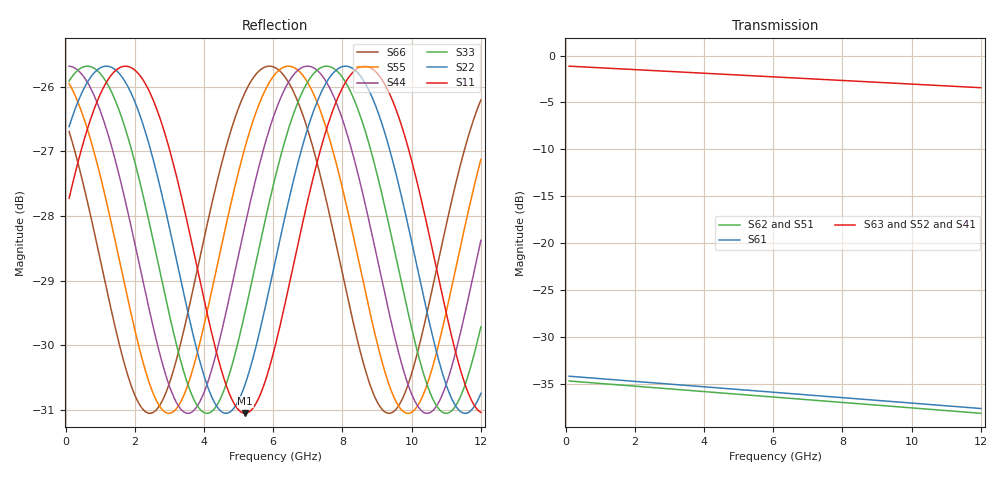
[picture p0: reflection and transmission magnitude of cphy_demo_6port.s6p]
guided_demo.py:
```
from __future__ import annotations

from pathlib import Path
from typing import TYPE_CHECKING

from PySide6 import QtCore, QtWidgets

from core.touchstone_loader import TouchstoneError, load_touchstone

if TYPE_CHECKING:
    from gui.main_window import MainWindow


class GuidedDemo(QtWidgets.QDockWidget):
    EXAMPLES = (
        ("cphy_demo_6port.s6p", "Sxx21_1R"),
        ("diff_demo_4port.s4p", "Sdd21"),
        ("se_demo_2port.s2p", "S21"),
    )

    def __init__(self, window: MainWindow) -> None:
        super().__init__("Guided Tour", window)
        self.setFeatures(QtWidgets.QDockWidget.NoDockWidgetFeatures)
        self.window = window
        self.step_index = 0
        self.dataset_ids: dict[str, str] = {}
        self.steps = (
            ("Import and inspect datasets",
             "Load the included synthetic S2P, S4P and S6P files. In Datasets, double-click a row "
             "to inspect points, port mapping and reference impedance.",
             "Load example files", self.load_examples),
            ("Add and compare traces",
             "Add one example trace per file. In Add Trace, choose SE, DIFF, or C-PHY as supported "
             "by the dataset. Use multiple for Ctrl/Shift selection and Plot / Traces for visibility, color and style.",
             "Add example traces", self.add_example_traces),
            ("Set a frequency range",
             "Apply a 1–10 GHz range. Try the mouse wheel to zoom, Shift + drag to pan, "
             "FIT to return to the applied view, and Autoscale to see the full sweep.",
             "Apply 1–10 GHz", self.apply_example_range),
            ("Read values with a marker",
             "Place a marker at 5 GHz and open Marker Info. Drag its line or enter a frequency "
             "to read the value of each visible trace. Click R in the Legend to edit report labels.",
             "Show 5 GHz marker", self.show_example_marker),
            ("Export and save",
             "Export Plot PNG or use Copy on the plot to copy it. Export Trace CSV saves trace values. "
             "Save Workspace lets you reopen the datasets, curves and markers later.",
             "Export demo PNG…", self.export_example),
        )

        panel = QtWidgets.QWidget(self)
        layout = QtWidgets.QVBoxLayout(panel)
        self.heading = QtWidgets.QLabel()
        self.description = QtWidgets.QLabel()
        self.description.setWordWrap(True)
        layout.addWidget(self.heading)
        layout.addWidget(self.description)
        buttons = QtWidgets.QHBoxLayout()
        self.try_button = QtWidgets.QPushButton()
        self.try_button.setObjectName("accentButton")
        self.back_button = QtWidgets.QPushButton("Back")
        self.next_button = QtWidgets.QPushButton()
        buttons.addWidget(self.try_button)
        buttons.addStretch()
        buttons.addWidget(self.back_button)
        buttons.addWidget(self.next_button)
        layout.addLayout(buttons)
        self.setWidget(panel)
        self.try_button.clicked.connect(self.try_step)
        self.back_button.clicked.connect(self.previous_step)
        self.next_button.clicked.connect(self.next_step)
        self.update_step()

    def update_step(self) -> None:
        title, description, action, _ = self.steps[self.step_index]
        self.heading.setText(f"<b>{self.step_index + 1}/{len(self.steps)} · {title}</b>")
        self.description.setText(description)
        self.try_button.setText(action)
        self.back_button.setEnabled(self.step_index > 0)
        self.next_button.setText("Finish" if self.step_index + 1 == len(self.steps) else "Next")

    def previous_step(self) -> None:
        self.step_index -= 1
        self.update_step()

    def next_step(self) -> None:
        if self.step_index + 1 == len(self.steps):
            self.window.close()
            return
        self.step_index += 1
        self.update_step()

    def try_step(self) -> None:
        try:
            self.steps[self.step_index][3]()
        except TouchstoneError as exc:
            QtWidgets.QMessageBox.warning(self, "Example load failed", str(exc))

    def load_examples(self) -> None:
        folder = Path(__file__).resolve().parents[1] / "examples"
        for filename, _ in self.EXAMPLES:
            if self.dataset_ids.get(filename) not in self.window.datasets:
                dataset = load_touchstone(folder / filename)
                self.dataset_ids[filename] = dataset.id
                self.window._dataset_loaded(dataset)
        self.window.control_tabs.setCurrentIndex(0)

    def add_example_traces(self) -> None:
        self.load_examples()
        if self.window.active_plot() is None:
            self.window.add_plot()
        requests = [(self.dataset_ids[filename], trace) for filename, trace in self.EXAMPLES]
        existing = {(trace.dataset_id, trace.parameter) for trace in self.window.active_plot().traces}
        missing = [request for request in requests if request not in existing]
        if missing:
            self.window.add_traces(missing)
        self.window.control_tabs.setCurrentIndex(1)

    def apply_example_range(self) -> None:
        self.add_example_traces()
        plot = self.window.plot_widgets[self.window.active_plot_id]
        plot.freq_min.setText("1")
        plot.freq_max.setText("10")
        plot.apply_ranges()

    def show_example_marker(self) -> None:
        self.add_example_traces()
        plot = self.window.plot_widgets[self.window.active_plot_id]
        if not plot.config.markers:
            plot.add_marker()
        plot.set_marker_frequency(plot.config.markers[-1].id, 5e9)
        plot.marker_splitter.set_panel_expanded(True, plot.config.marker_info_width)

    def export_example(self) -> None:
        self.add_example_traces()
        self.window.export_active_png()
```
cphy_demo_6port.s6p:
! Created with skrf (http://scikit-rf.org).
# GHz S RI R 50.0
!freq ReS11 ImS11 ReS12 ImS12 ReS13 ImS13
! ReS14 ImS14 ReS15 ImS15 ReS16 ImS16
! ReS21 ImS21 ReS22 ImS22 ReS23 ImS23
! ReS24 ImS24 ReS25 ImS25 ReS26 ImS26
! ReS31 ImS31 ReS32 ImS32 ReS33 ImS33
! ReS34 ImS34 ReS35 ImS35 ReS36 ImS36
! ReS41 ImS41 ReS42 ImS42 ReS43 ImS43
! ReS44 ImS44 ReS45 ImS45 ReS46 ImS46
! ReS51 ImS51 ReS52 ImS52 ReS53 ImS53
! ReS54 ImS54 ReS55 ImS55 ReS56 ImS56
! ReS61 ImS61 ReS62 ImS62 ReS63 ImS63
! ReS64 ImS64 ReS65 ImS65 ReS66 ImS66
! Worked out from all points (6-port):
!   401 points, 100 MHz to 12 GHz, reference 50 ohm
!   strongest paths, dB at 100 MHz, 3.075 GHz, 6.05 GHz, 9.025 GHz, 12 GHz:
!     S63: -1.1, -1.7, -2.3, -2.9, -3.4
!     S52: -1.1, -1.7, -2.3, -2.9, -3.4
!     S41: -1.1, -1.7, -2.3, -2.9, -3.4
!     S61: -34.2, -35.0, -35.9, -36.8, -37.6
!     S62: -34.7, -35.6, -36.4, -37.3, -38.1
!     S51: -34.7, -35.6, -36.4, -37.3, -38.1
!   lowest |S11| = -31.1 dB at 5.187 GHz (marker M1), VSWR 1.06, Z = 50.2 - j2.8 ohm
!   |S11| at or under -10 dB: start of sweep to end of sweep
